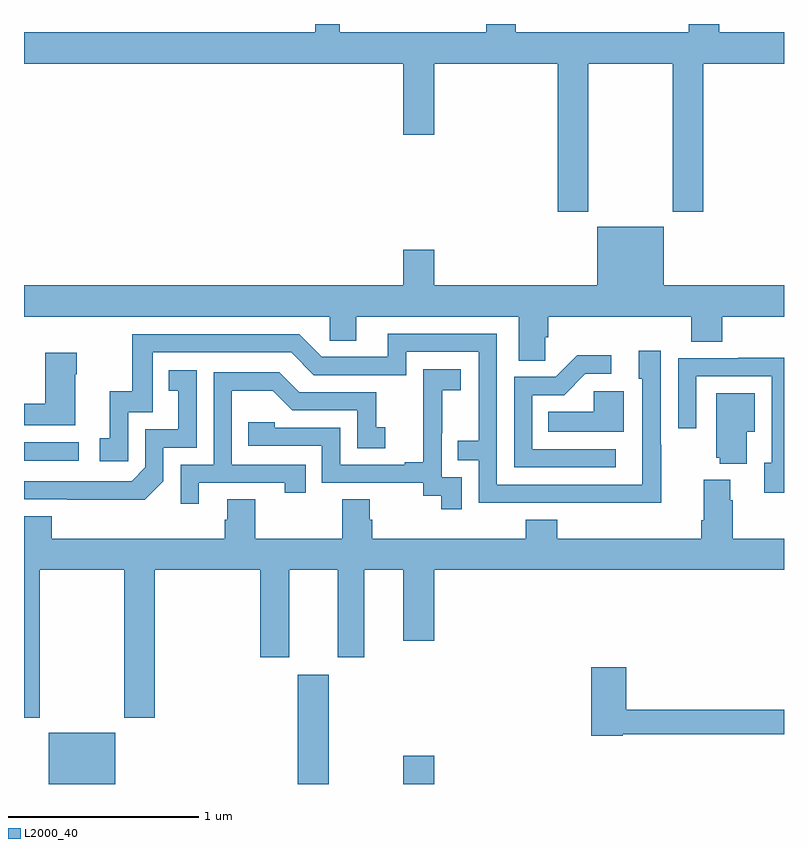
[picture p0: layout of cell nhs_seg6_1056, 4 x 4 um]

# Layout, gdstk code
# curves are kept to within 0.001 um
import gdstk
lib = gdstk.Library(unit=1e-6, precision=1e-09)
def R(c, l, rs):  # rectangles x0, y0, x1, y1
    for r in rs: c.add(gdstk.rectangle(r[:2], r[2:], *l))
def P(c, l, *ps):  # polygons
    for p in ps: c.add(gdstk.Polygon(p, *l))
L2000_40 = (2000, 40)

nhs_seg6_1056 = lib.new_cell('nhs_seg6_1056')
R(nhs_seg6_1056, L2000_40, [(175.13,987.5,175.48,987.769), (176.441,987.5,176.605,988.075), (176.996,987.5,177.16,987.649), (175,989.202,175.288,989.298)])
P(nhs_seg6_1056, L2000_40, [(177.969,991.292),(178.414,991.292),(178.414,990.513),(178.574,990.513),(178.574,991.292),(179,991.292),(179,991.456),(178.659,991.456),(178.659,991.5),(178.499,991.5),(178.499,991.456),(177.587,991.456),(177.587,991.5),(177.434,991.5),(177.434,991.456),(176.663,991.456),(176.663,991.5),(176.533,991.5),(176.533,991.456),(175,991.456),(175,991.292),(176.996,991.292),(176.996,990.918),(177.16,990.918),(177.16,991.292),(177.809,991.292),(177.809,990.513),(177.969,990.513)],
  [(177.744,989.851),(177.758,989.851),(177.758,989.96),(178.511,989.96),(178.511,989.827),(178.676,989.827),(178.676,989.96),(179,989.96),(179,990.124),(178.366,990.124),(178.366,990.433),(178.016,990.433),(178.016,990.124),(177.16,990.124),(177.16,990.313),(176.996,990.313),(176.996,990.124),(175,990.124),(175,989.96),(176.61,989.96),(176.61,989.833),(176.749,989.833),(176.749,989.96),(177.605,989.96),(177.605,989.728),(177.744,989.728)],
  [(178.353,989.285),(178.35,989.285),(178.35,989.779),(178.235,989.779),(178.235,989.634),(178.254,989.634),(178.253,989.076),(177.489,989.076),(177.489,989.871),(176.915,989.871),(176.915,989.748),(176.568,989.748),(176.448,989.868),(175.569,989.868),(175.569,989.566),(175.451,989.566),(175.451,989.319),(175.398,989.319),(175.398,989.199),(175.548,989.199),(175.548,989.457),(175.677,989.457),(175.677,989.772),(176.406,989.772),(176.526,989.652),(177.012,989.652),(177.012,989.775),(177.393,989.775),(177.393,989.306),(177.283,989.306),(177.283,989.205),(177.393,989.205),(177.393,988.98),(178.353,988.979)],
  [(175.27,989.657),(175.278,989.657),(175.278,989.77),(175.112,989.77),(175.112,989.501),(175,989.501),(175,989.387),(175.27,989.387)],
  [(178.114,989.262),(177.675,989.262),(177.675,989.547),(177.844,989.547),(177.955,989.658),(178.09,989.658),(178.09,989.756),(177.911,989.756),(177.798,989.643),(177.579,989.643),(177.579,989.166),(178.114,989.166)],
  [(179,989.744),(178.759,989.744),(178.759,989.742),(178.443,989.742),(178.443,989.373),(178.539,989.373),(178.539,989.646),(178.935,989.646),(178.935,989.19),(178.895,989.19),(178.895,989.034),(179,989.034)],
  [(177.303,989.115),(177.198,989.115),(177.198,989.345),(177.2,989.345),(177.2,989.573),(177.298,989.573),(177.298,989.683),(177.1,989.683),(177.1,989.477),(177.101,989.477),(177.101,989.194),(177.005,989.194),(177.005,989.181),(176.664,989.181),(176.664,989.376),(176.319,989.376),(176.319,989.403),(176.179,989.403),(176.179,989.28),(176.568,989.28),(176.568,989.085),(177.102,989.085),(177.102,989.017),(177.195,989.017),(177.195,988.947),(177.303,988.947)],
  [(175.734,989.094),(175.734,989.271),(175.908,989.271),(175.908,989.677),(175.762,989.677),(175.762,989.571),(175.811,989.571),(175.811,989.367),(175.638,989.367),(175.638,989.166),(175.566,989.094),(175,989.094),(175,988.998),(175.636,988.997)],
  [(175.921,989.085),(176.372,989.085),(176.372,989.034),(176.483,989.034),(176.483,989.181),(176.094,989.181),(176.094,989.57),(176.308,989.57),(176.412,989.466),(176.754,989.466),(176.754,989.268),(176.902,989.268),(176.902,989.377),(176.853,989.377),(176.853,989.562),(176.449,989.562),(176.344,989.667),(175.998,989.667),(175.998,989.181),(175.824,989.181),(175.824,988.974),(175.921,988.974)],
  [(178.156,989.566),(177.999,989.566),(177.999,989.458),(177.76,989.458),(177.76,989.354),(178.156,989.354)],
  [(178.804,989.354),(178.846,989.354),(178.846,989.557),(178.643,989.557),(178.643,989.217),(178.661,989.217),(178.661,989.186),(178.804,989.186)],
  [(175.083,988.628),(175.528,988.628),(175.528,987.849),(175.688,987.849),(175.688,988.628),(176.243,988.628),(176.243,988.167),(176.395,988.167),(176.395,988.628),(176.651,988.628),(176.651,988.167),(176.791,988.167),(176.791,988.628),(176.996,988.628),(176.996,988.254),(177.16,988.254),(177.16,988.628),(179,988.628),(179,988.792),(178.73,988.792),(178.73,988.994),(178.717,988.994),(178.717,989.101),(178.577,989.101),(178.577,988.888),(178.565,988.888),(178.565,988.792),(177.806,988.792),(177.806,988.891),(177.641,988.891),(177.641,988.792),(176.834,988.792),(176.834,988.89),(176.821,988.89),(176.821,989),(176.674,989),(176.674,988.792),(176.217,988.792),(176.217,989),(176.069,989),(176.069,988.89),(176.057,988.89),(176.057,988.792),(175.145,988.792),(175.145,988.909),(175,988.909),(175,987.849),(175.083,987.849)],
  [(178.152,987.762),(179,987.762),(179,987.89),(178.169,987.89),(178.169,988.114),(177.986,988.114),(177.986,987.754),(178.152,987.754)])

lib.write_gds('nhs_seg6_1056.gds')
